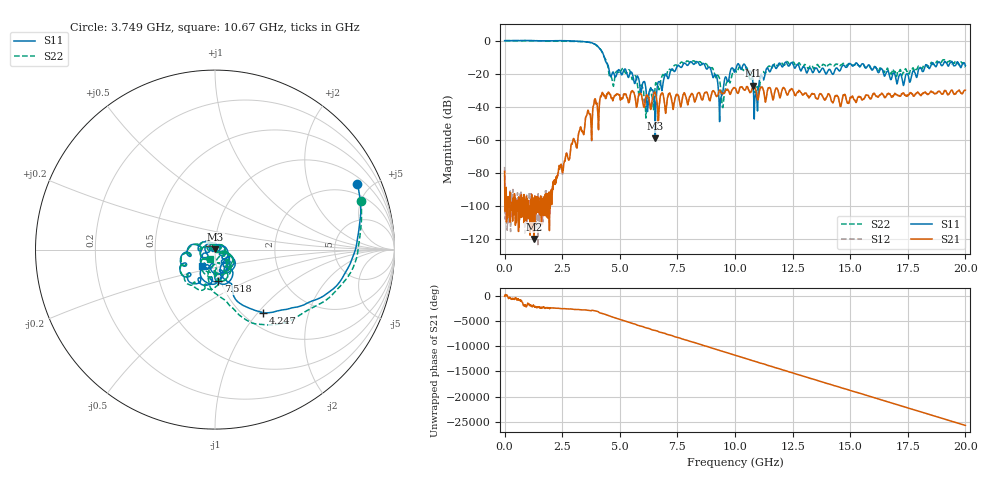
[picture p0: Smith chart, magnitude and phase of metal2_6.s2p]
#  HZ  S  RI  R  50.00
! Rohde & Schwarz Vector Network Analyzer
! Rohde-Schwarz,ZNB20-2Port,1311601062102128,3.60
! Created: UTC 4/29/2024, 3:56:21 PM
! freq[Hz]  re:S11  im:S11  re:S21  im:S21  re:S12  im:S12  re:S22  im:S22
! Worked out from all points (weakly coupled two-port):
!   2007 points, 100 kHz to 20 GHz, reference 50 ohm
!   highest |S21| = -27.28 dB at 10.8 GHz (marker M1); lowest = -120.2 dB at 1.266 GHz (marker M2)
!   lowest |S11| = -59.3 dB at 6.54 GHz (marker M3), VSWR 1.00, Z = 50.1 + j0.0562 ohm
!   |S11| at or under -10 dB: 4.327 GHz to end of sweep
!   |S22| runs from -47.0 to 0.1 dB; largest |S21 - S12| = 0.0023
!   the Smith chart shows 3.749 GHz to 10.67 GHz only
!   S11 on the Smith chart (normalised r, x): 3.749 GHz: 1.36, +4.16; 4.247 GHz: 1.22, -1.06; 7.518 GHz: 0.97, -0.36; 10.67 GHz: 0.85, -0.16
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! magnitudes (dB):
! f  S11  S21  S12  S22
! 100 kHz  0.0  -79.3  -76.6  0.1
! 1.266 GHz  0.0  -120.2  -98.2  -0.1
! 2.243 GHz  0.0  -84.6  -83.8  -0.3
! 3.34 GHz  -0.6  -54.8  -54.5  -0.6
! 3.749 GHz  -1.2  -50.0  -49.8  -1.3
! 4.247 GHz  -7.1  -31.6  -31.2  -7.5
! 4.656 GHz  -20.2  -34.6  -34.7  -23.1
! 5.394 GHz  -21.9  -37.5  -37.6  -17.7
! 6.142 GHz  -30.4  -33.9  -33.9  -44.8
! 6.54 GHz  -59.3  -31.6  -31.7  -27.0
! 6.67 GHz  -25.1  -49.4  -49.4  -27.9
! 7.518 GHz  -15.0  -32.8  -32.8  -15.4
! 8.883 GHz  -16.1  -36.0  -36.1  -17.1
! 9.382 GHz  -34.7  -31.0  -31.0  -29.0
! 10 GHz  -18.8  -28.7  -28.7  -17.7
! 10.67 GHz  -18.5  -31.4  -31.3  -24.4
! 10.8 GHz  -29.9  -27.3  -27.3  -24.2
! 10.91 GHz  -32.5  -30.2  -30.3  -30.7
! 11.67 GHz  -14.6  -35.4  -35.4  -14.9
! 13.34 GHz  -18.7  -32.0  -32.0  -15.0
! 16.67 GHz  -19.3  -32.0  -32.1  -19.3
! 20 GHz  -15.1  -30.1  -30.1  -15.1
